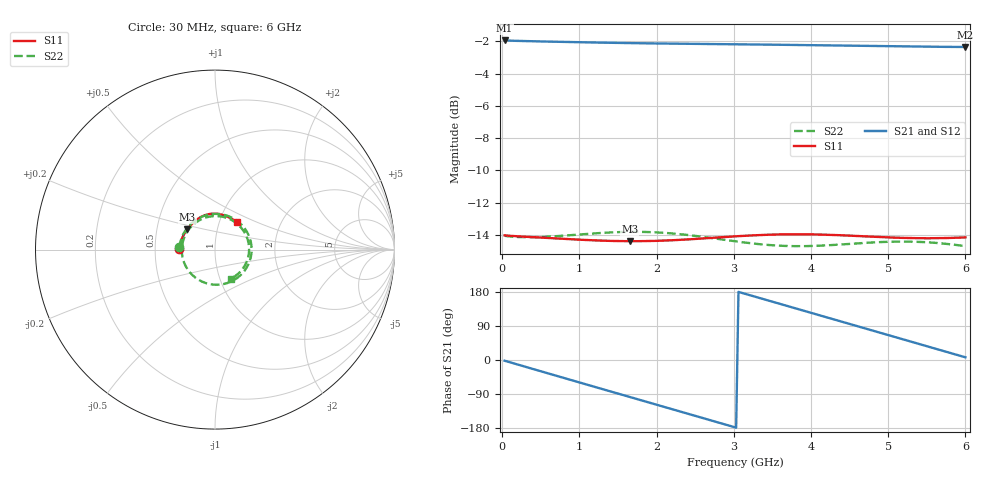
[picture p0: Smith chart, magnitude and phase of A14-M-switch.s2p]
! yapnr Order 0 O0-M: O0-M A14 SHUNT 100R (switch, family M)
! stackup OSHPARK-4L-FR408HR, nominal parameters; geometry of the OSHPARK-4L-FR408HR design
! model: 2D quasi-static RLGC (Djordjevic-Sarkar, Huray roughness, Wheeler loss); generated by python -m yapnr.rf.coupons expected --stackup OSHPARK-4L-FR408HR --upload M
! reference planes 10 mm from each end; 50 ohm (from the M line's Zc)
# GHz S DB R 50
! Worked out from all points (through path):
!   200 points, 30 MHz to 6 GHz, reference 50 ohm
!   highest |S21| = -1.95 dB at 30 MHz (marker M1); lowest = -2.4 dB at 6 GHz (marker M2)
!   group delay of S21, straight-line fit = 163 ps
!   lowest |S11| = -14.4 dB at 1.65 GHz (marker M3), VSWR 1.47, Z = 35.9 + j8.48 ohm
!   |S11| at or under -10 dB: start of sweep to end of sweep
!   |S22| runs from -14.7 to -13.8 dB; largest |S21 - S12| = 0
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0.03  -14.02 179.1  -1.95 -1.9  -1.95 -1.9  -14.04 176.5
0.27  -14.10 173.4  -1.99 -16.2  -1.99 -16.2  -14.13 151.2
0.51  -14.16 167.8  -2.01 -30.4  -2.01 -30.4  -14.12 126.2
0.78  -14.23 161.8  -2.04 -46.3  -2.04 -46.3  -14.04 98.4
1.05  -14.30 155.9  -2.07 -62.2  -2.07 -62.2  -13.95 71.1
1.35  -14.36 149.5  -2.09 -79.8  -2.09 -79.8  -13.85 41.3
1.65  -14.38 143.4  -2.12 -97.5  -2.12 -97.5  -13.80 11.9
2.04  -14.35 135.4  -2.14 -120.4  -2.14 -120.4  -13.85 -26.0
2.55  -14.23 124.7  -2.17 -150.3  -2.17 -150.3  -14.08 -76.0
2.79  -14.15 119.5  -2.18 -164.4  -2.18 -164.4  -14.24 -100.0
3.03  -14.08 114.1  -2.19 -178.5  -2.19 -178.5  -14.40 -124.3
3.27  -14.02 108.6  -2.20 167.3  -2.20 167.3  -14.54 -148.9
3.51  -13.97 103.0  -2.21 153.2  -2.21 153.2  -14.64 -173.8
4.02  -13.96 91.1  -2.25 123.2  -2.25 123.2  -14.68 133.3
4.29  -13.99 84.9  -2.27 107.4  -2.27 107.4  -14.62 105.6
4.53  -14.04 79.6  -2.28 93.3  -2.28 93.3  -14.54 81.4
4.77  -14.10 74.5  -2.30 79.2  -2.30 79.2  -14.47 57.5
5.01  -14.15 69.5  -2.31 65.1  -2.31 65.1  -14.42 34.0
5.25  -14.18 64.8  -2.33 51.0  -2.33 51.0  -14.41 10.7
5.52  -14.20 59.6  -2.34 35.2  -2.34 35.2  -14.45 -15.3
5.76  -14.19 55.0  -2.35 21.2  -2.35 21.2  -14.55 -38.6
6  -14.14 50.3  -2.36 7.1  -2.36 7.1  -14.69 -62.0
